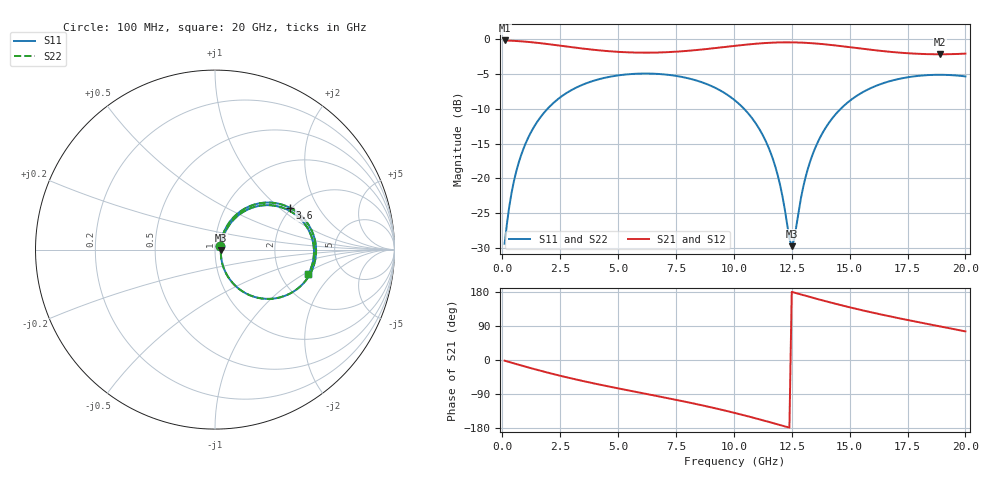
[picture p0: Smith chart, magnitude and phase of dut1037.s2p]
! Touchstone file exported from HFSS 2026.1.0
!  File:  C:/ffzhzh/LocalFiles/Ansys_Project_Files/temp_train_TSV_RDL_1037_1783294813_38820.aedt
!  Generated:  07:57:21 AM Jul  6, 2026
!  Design:  TSV_RDL
!  Project:  temp_train_TSV_RDL_1037_1783294813_38820
! Variables:
!  h_bsmrdl = 3.29um
!  h_ox = 20um
!  h_rdl = 5um
!  h_sub = 60.07um
!  h_tmrdl = 5.54um
!  h_tsv = 60.07um
!  h_via = 3um
!  l_bsmrdl = 714.47um
!  l_sub = 5083.52um
!  l_tmrdl = 613.57um
!  m_sub = 200um
!  pitch = 38.05um
!  r_tsv = 7.08um
!  s_tmrdl = 10um
!  w_bsmrdl = 13.1um
!  w_sub = 500um
!  w_tmrdl = 15.51um
!  x_tsv_center1 = 621.325um
!  x_tsv_center2 = 1348.895um
!  x_tsv_center3 = 1977.975um
!  x_tsv_center4 = 2705.545um
!  x_tsv_center5 = 3334.625um
!  x_tsv_center6 = 4062.195um
# GHz S MA R 50.000000
! Terminal data exported
! Port[1] = TM_RDL1_1_T1
! Port[2] = TM_RDL5_1_T1
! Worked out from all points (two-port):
!   200 points, 100 MHz to 20 GHz, reference 50 ohm
!   highest |S21| = -0.25 dB at 100 MHz (marker M1); lowest = -2.2 dB at 18.9 GHz (marker M2)
!   |S21| within 3 dB of the highest: start of sweep to end of sweep
!   lowest |S11| = -29.7 dB at 12.5 GHz (marker M3), VSWR 1.07, Z = 53.4 - j0.235 ohm
!   |S11| at or under -10 dB: start of sweep to 1.961 GHz; 10.43 GHz to 14.63 GHz (4.193 GHz wide, 33.5 % of centre)
!   |S22| runs from -29.7 to -5.0 dB; largest |S21 - S12| = 1.6e-14
!   S11 on the Smith chart (normalised r, x): 100 MHz: 1.06, +0.04; 3.6 GHz: 1.96, +1.18; 20 GHz: 2.85, -1.10
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0.1  0.03411 31.8  0.9714 -1.8  0.9714 -1.8  0.03411 31.8
! Gamma 0 0 0 0
! Port Impedance 50 0 50 0
0.3  0.06276 56.3  0.9687 -5.4  0.9687 -5.4  0.06276 56.3
0.5  0.09533 62.2  0.9651 -8.9  0.9651 -8.9  0.09533 62.2
1.2  0.2083 60.1  0.9459 -20.9  0.9459 -20.9  0.2083 60.1
2.2  0.346 47.5  0.9049 -37.0  0.9049 -37.0  0.346 47.5
3.5  0.4709 30.4  0.8489 -55.7  0.8489 -55.7  0.4709 30.4
3.6  0.478 29.1  0.8451 -57.1  0.8451 -57.1  0.478 29.1
5.2  0.5516 10.0  0.8019 -77.3  0.8019 -77.3  0.5516 10.0
6.8  0.5587 -8.2  0.7971 -96.5  0.7971 -96.5  0.5587 -8.2
8.6  0.4892 -29.5  0.8361 -119.2  0.8361 -119.2  0.4892 -29.5
10.1  0.356 -48.7  0.8912 -140.6  0.8912 -140.6  0.356 -48.7
11  0.2403 -59.9  0.9219 -154.9  0.9219 -154.9  0.2403 -60.0
11.6  0.1511 -64.9  0.9359 -164.9  0.9359 -164.9  0.1511 -65.0
12  0.08947 -62.5  0.941 -171.7  0.941 -171.7  0.0894 -62.6
12.5  0.03279 -3.8  0.9418 179.7  0.9418 179.7  0.03259 -3.8
13  0.08749 57.4  0.9363 171.2  0.9363 171.2  0.08741 57.5
13.4  0.1482 60.1  0.9277 164.4  0.9277 164.4  0.1482 60.2
14  0.2355 55.4  0.9092 154.6  0.9092 154.6  0.2355 55.4
14.7  0.3252 47.0  0.8823 143.6  0.8823 143.6  0.3252 47.1
16.7  0.4948 22.3  0.807 115.7  0.807 115.7  0.4948 22.3
18.9  0.5519 -2.6  0.7735 88.7  0.7735 88.7  0.5519 -2.6
20  0.5372 -14.8  0.7821 75.5  0.7821 75.5  0.5372 -14.8
